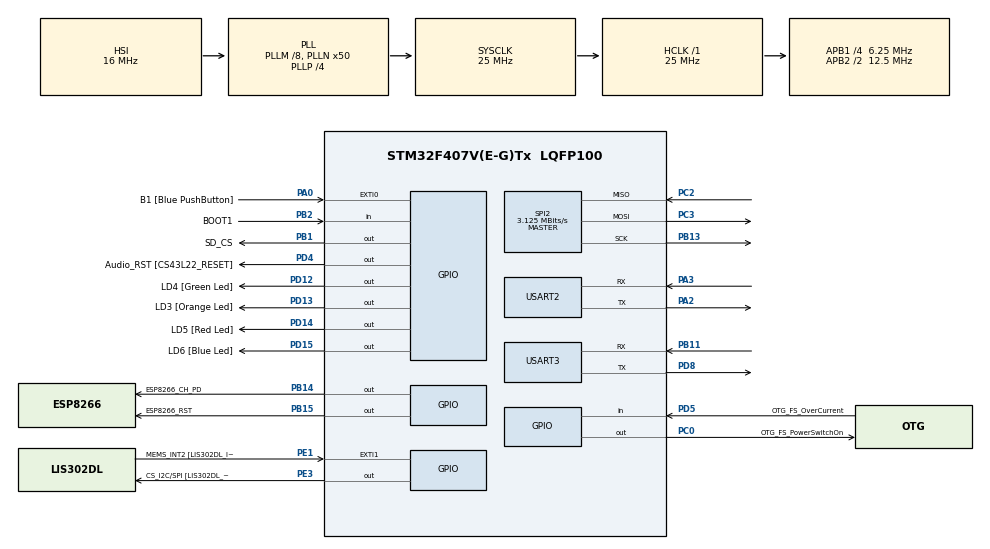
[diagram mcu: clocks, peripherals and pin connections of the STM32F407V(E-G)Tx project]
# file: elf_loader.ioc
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Dma.Request0=USART3_RX
Dma.USART3_RX.0.Direction=DMA_PERIPH_TO_MEMORY
Dma.USART3_RX.0.FIFOMode=DMA_FIFOMODE_ENABLE
Dma.USART3_RX.0.FIFOThreshold=DMA_FIFO_THRESHOLD_FULL
Dma.USART3_RX.0.Instance=DMA1_Stream1
Dma.USART3_RX.0.MemBurst=DMA_MBURST_SINGLE
Dma.USART3_RX.0.MemDataAlignment=DMA_MDATAALIGN_BYTE
Dma.USART3_RX.0.MemInc=DMA_MINC_ENABLE
Dma.USART3_RX.0.Mode=DMA_NORMAL
Dma.USART3_RX.0.PeriphBurst=DMA_PBURST_SINGLE
Dma.USART3_RX.0.PeriphDataAlignment=DMA_PDATAALIGN_BYTE
Dma.USART3_RX.0.PeriphInc=DMA_PINC_DISABLE
Dma.USART3_RX.0.Priority=DMA_PRIORITY_LOW
FREERTOS.Tasks01=defaultTask,24,128,StartDefaultTask,Default,NULL,Dynamic,NULL,NULL
Mcu.Family=STM32F4
Mcu.Name=STM32F407V(E-G)Tx
Mcu.Package=LQFP100
NVIC.DMA1_Stream1_IRQn=true\:5\:0\:false\:false\:true\:true\:false\:true\:true
NVIC.PriorityGroup=NVIC_PRIORITYGROUP_4
NVIC.TIM2_IRQn=true\:15\:0\:false\:false\:true\:false\:false\:true\:true
NVIC.TimeBase=TIM2_IRQn
NVIC.TimeBaseIP=TIM2
NVIC.USART3_IRQn=true\:5\:0\:false\:false\:true\:true\:true\:true\:true
PA0-WKUP.GPIO_Label=B1 [Blue PushButton]
PA0-WKUP.Signal=GPXTI0
PA10.GPIO_Label=OTG_FS_ID
PA10.GPIO_Mode=GPIO_MODE_AF_PP
PA10.GPIO_PuPd=GPIO_NOPULL
PA10.GPIO_Speed=GPIO_SPEED_FREQ_LOW
PA10.Signal=USB_OTG_FS_ID
PA11.GPIO_Label=OTG_FS_DM
PA11.GPIO_Mode=GPIO_MODE_AF_PP
PA11.GPIO_PuPd=GPIO_NOPULL
PA11.GPIO_Speed=GPIO_SPEED_FREQ_LOW
PA11.Signal=USB_OTG_FS_DM
PA12.GPIO_Label=OTG_FS_DP
PA12.GPIO_Mode=GPIO_MODE_AF_PP
PA12.GPIO_PuPd=GPIO_NOPULL
PA12.GPIO_Speed=GPIO_SPEED_FREQ_LOW
PA12.Signal=USB_OTG_FS_DP
PA13.GPIO_Label=SWDIO
PA13.Mode=Serial_Wire
PA13.Signal=SYS_JTMS-SWDIO
PA14.GPIO_Label=SWCLK
PA14.Mode=Serial_Wire
PA14.Signal=SYS_JTCK-SWCLK
PA2.Mode=Asynchronous
PA2.Signal=USART2_TX
PA3.Mode=Asynchronous
PA3.Signal=USART2_RX
PA4.GPIO_Label=I2S3_WS [CS43L22_LRCK]
PA4.GPIO_Mode=GPIO_MODE_AF_PP
PA4.GPIO_PuPd=GPIO_NOPULL
PA4.GPIO_Speed=GPIO_SPEED_FREQ_LOW
PA4.Signal=I2S3_WS
PA5.GPIO_Label=SPI1_SCK [LIS302DL_SCL/SPC]
PA5.GPIO_Mode=GPIO_MODE_AF_PP
PA5.GPIO_PuPd=GPIO_NOPULL
PA5.GPIO_Speed=GPIO_SPEED_FREQ_LOW
PA5.Signal=SPI1_SCK
PA6.GPIO_Label=SPI1_MISO [LIS302DL_SDO]
PA6.GPIO_Mode=GPIO_MODE_AF_PP
PA6.GPIO_PuPd=GPIO_NOPULL
PA6.GPIO_Speed=GPIO_SPEED_FREQ_LOW
PA6.Signal=SPI1_MISO
PA7.GPIO_Label=SPI1_MOSI [LIS302DL_SDA/SDI/SDO]
PA7.GPIO_Mode=GPIO_MODE_AF_PP
PA7.GPIO_PuPd=GPIO_NOPULL
PA7.GPIO_Speed=GPIO_SPEED_FREQ_LOW
PA7.Signal=SPI1_MOSI
PA9.GPIO_Label=VBUS_FS
PA9.GPIO_Mode=GPIO_MODE_INPUT
PA9.GPIO_PuPd=GPIO_NOPULL
PA9.Signal=USB_OTG_FS_VBUS
PB1.GPIO_Label=SD_CS
PB1.Signal=GPIO_Output
PB10.GPIO_Label=CLK_IN [MP45DT02_CLK]
PB10.GPIO_Mode=GPIO_MODE_AF_PP
PB10.GPIO_PuPd=GPIO_NOPULL
PB10.GPIO_Speed=GPIO_SPEED_FREQ_LOW
PB10.Signal=I2S2_CK
PB11.Mode=Asynchronous
PB11.Signal=USART3_RX
PB13.Mode=Full_Duplex_Master
PB13.Signal=SPI2_SCK
PB14.GPIO_Label=ESP8266_CH_PD
PB14.Signal=GPIO_Output
PB15.GPIO_Label=ESP8266_RST
PB15.Signal=GPIO_Output
PB2.GPIO_Label=BOOT1
PB2.GPIO_Mode=GPIO_MODE_INPUT
PB2.GPIO_PuPd=GPIO_NOPULL
PB2.Signal=GPIO_Input
PB3.GPIO_Label=SWO
PB3.Signal=SYS_JTDO-SWO
PB6.GPIO_Label=Audio_SCL [CS43L22_SCL]
PB6.GPIO_Mode=GPIO_MODE_AF_OD
PB6.GPIO_PuPd=GPIO_NOPULL
PB6.GPIO_Speed=GPIO_SPEED_FREQ_LOW
PB6.Signal=I2C1_SCL
PB9.GPIO_Label=Audio_SDA [CS43L22_SDA]
PB9.GPIO_Mode=GPIO_MODE_AF_OD
PB9.GPIO_PuPd=GPIO_NOPULL
PB9.GPIO_Speed=GPIO_SPEED_FREQ_LOW
PB9.Signal=I2C1_SDA
PC0.GPIO_Label=OTG_FS_PowerSwitchOn
PC0.GPIO_PuPd=GPIO_NOPULL
PC0.GPIO_Speed=GPIO_SPEED_FREQ_LOW
PC0.PinState=GPIO_PIN_SET
PC0.Signal=GPIO_Output
PC10.GPIO_Label=I2S3_SCK [CS43L22_SCLK]
PC10.GPIO_Mode=GPIO_MODE_AF_PP
PC10.GPIO_PuPd=GPIO_NOPULL
PC10.GPIO_Speed=GPIO_SPEED_FREQ_LOW
PC10.Signal=I2S3_CK
PC12.GPIO_Label=I2S3_SD [CS43L22_SDIN]
PC12.GPIO_Mode=GPIO_MODE_AF_PP
PC12.GPIO_PuPd=GPIO_NOPULL
PC12.GPIO_Speed=GPIO_SPEED_FREQ_LOW
PC12.Signal=I2S3_SD
PC14-OSC32_IN.GPIO_Label=PC14-OSC32_IN
PC14-OSC32_IN.Signal=RCC_OSC32_IN
PC15-OSC32_OUT.GPIO_Label=PC15-OSC32_OUT
PC15-OSC32_OUT.Signal=RCC_OSC32_OUT
PC2.Mode=Full_Duplex_Master
PC2.Signal=SPI2_MISO
PC3.Mode=Full_Duplex_Master
PC3.Signal=SPI2_MOSI
PC7.GPIO_Label=I2S3_MCK [CS43L22_MCLK]
PC7.GPIO_Mode=GPIO_MODE_AF_PP
PC7.GPIO_PuPd=GPIO_NOPULL
PC7.GPIO_Speed=GPIO_SPEED_FREQ_LOW
PC7.Signal=I2S3_MCK
PD12.GPIO_Label=LD4 [Green Led]
PD12.GPIO_PuPd=GPIO_NOPULL
PD12.GPIO_Speed=GPIO_SPEED_FREQ_LOW
PD12.Signal=GPIO_Output
PD13.GPIO_Label=LD3 [Orange Led]
PD13.GPIO_PuPd=GPIO_NOPULL
PD13.GPIO_Speed=GPIO_SPEED_FREQ_LOW
PD13.Signal=GPIO_Output
PD14.GPIO_Label=LD5 [Red Led]
PD14.GPIO_PuPd=GPIO_NOPULL
PD14.GPIO_Speed=GPIO_SPEED_FREQ_LOW
PD14.Signal=GPIO_Output
PD15.GPIO_Label=LD6 [Blue Led]
PD15.GPIO_PuPd=GPIO_NOPULL
PD15.GPIO_Speed=GPIO_SPEED_FREQ_LOW
PD15.Signal=GPIO_Output
PD4.GPIO_Label=Audio_RST [CS43L22_RESET]
PD4.GPIO_PuPd=GPIO_NOPULL
PD4.GPIO_Speed=GPIO_SPEED_FREQ_LOW
PD4.Signal=GPIO_Output
PD5.GPIO_Label=OTG_FS_OverCurrent
PD5.GPIO_Mode=GPIO_MODE_INPUT
PD5.GPIO_PuPd=GPIO_NOPULL
PD5.Signal=GPIO_Input
PD8.Mode=Asynchronous
PD8.Signal=USART3_TX
PE1.GPIO_Label=MEMS_INT2 [LIS302DL_INT2]
PE1.GPIO_ModeDefaultEXTI=GPIO_MODE_EVT_RISING
PE1.GPIO_PuPd=GPIO_NOPULL
PE1.Signal=GPXTI1
PE3.GPIO_Label=CS_I2C/SPI [LIS302DL_CS_I2C/SPI]
PE3.GPIO_PuPd=GPIO_NOPULL
PE3.GPIO_Speed=GPIO_SPEED_FREQ_LOW
PE3.Signal=GPIO_Output
PH0-OSC_IN.GPIO_Label=PH0-OSC_IN
PH0-OSC_IN.Signal=RCC_OSC_IN
PH1-OSC_OUT.GPIO_Label=PH1-OSC_OUT
PH1-OSC_OUT.Signal=RCC_OSC_OUT
ProjectManager.HeapSize=0x200
ProjectManager.StackSize=0x400
ProjectManager.TargetToolchain=Makefile
RCC.48MHZClocksFreq_Value=14285714.285714285
RCC.AHBFreq_Value=25000000
RCC.APB1CLKDivider=RCC_HCLK_DIV4
RCC.APB1Freq_Value=6250000
RCC.APB1TimFreq_Value=12500000
RCC.APB2CLKDivider=RCC_HCLK_DIV2
RCC.APB2Freq_Value=12500000
RCC.APB2TimFreq_Value=25000000
RCC.CortexFreq_Value=25000000
RCC.HCLKFreq_Value=25000000
RCC.HSE_VALUE=8000000
RCC.HSI_VALUE=16000000
RCC.LSE_VALUE=32768
RCC.PLLM=8
RCC.PLLN=50
RCC.PLLP=RCC_PLLP_DIV4
RCC.PLLQ=7
RCC.SYSCLKFreq_VALUE=25000000
RCC.SYSCLKSource=RCC_SYSCLKSOURCE_PLLCLK
RCC.VCOOutputFreq_Value=100000000
SPI2.CalculateBaudRate=3.125 MBits/s
SPI2.Direction=SPI_DIRECTION_2LINES
SPI2.Mode=SPI_MODE_MASTER
SPI2.VirtualType=VM_MASTER
USART2.VirtualMode=VM_ASYNC
USART3.VirtualMode=VM_ASYNC
VP_FATFS_VS_Generic.Mode=User_defined
VP_FREERTOS_VS_CMSIS_V2.Mode=CMSIS_V2
VP_SYS_VS_tim2.Mode=TIM2
board=STM32F407G-DISC1

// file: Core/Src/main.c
/* USER CODE BEGIN Header */
/**
 ******************************************************************************
 * @file           : main.c
 * @brief          : Main program body
 ******************************************************************************
 * @attention
 *
 * Copyright (c) 2026 STMicroelectronics.
 * All rights reserved.
 *
 * This software is licensed under terms that can be found in the LICENSE file
 * in the root directory of this software component.
 * If no LICENSE file comes with this software, it is provided AS-IS.
 *
 ******************************************************************************
 */
/* USER CODE END Header */
#include "main.h"
#include "cmsis_os.h"
#include "fatfs.h"

/* USER CODE BEGIN Includes */
#include "FreeRTOS.h"
#include "kernel_api.h"
#include "shell.h"
#include "task.h"
/* USER CODE END Includes */

SPI_HandleTypeDef hspi2;

UART_HandleTypeDef huart2;
UART_HandleTypeDef huart3;
DMA_HandleTypeDef hdma_usart3_rx;

/* Definitions for defaultTask */
osThreadId_t defaultTaskHandle;
const osThreadAttr_t defaultTask_attributes = {
    .name = "defaultTask",
    .stack_size = 128 * 4,
    .priority = (osPriority_t) osPriorityNormal,
};

void SystemClock_Config(void);
static void MX_GPIO_Init(void);
static void MX_DMA_Init(void);
static void MX_USART2_UART_Init(void);
static void MX_SPI2_Init(void);
static void MX_USART3_UART_Init(void);
void StartDefaultTask(void *argument);

int main(void)
{

    /* MCU
     * Configuration--------------------------------------------------------*/

    /* Reset of all peripherals, Initializes the Flash interface and the
     * Systick. */
    HAL_Init();

    /* Configure the system clock */
    SystemClock_Config();

    /* Initialize all configured peripherals */
    MX_GPIO_Init();
    MX_DMA_Init();
    MX_USART2_UART_Init();
    MX_SPI2_Init();
    MX_FATFS_Init();
    MX_USART3_UART_Init();
    /* USER CODE BEGIN 2 */
    /* ESP8266 Init BEGIN */
    // 1. Ensure power enable first
    HAL_GPIO_WritePin(ESP8266_CH_PD_GPIO_Port, ESP8266_CH_PD_Pin, GPIO_PIN_SET);
    HAL_Delay(500);  // Give power time to stabilize

    // 2. Perform hardware reset
    HAL_GPIO_WritePin(ESP8266_RST_GPIO_Port, ESP8266_RST_Pin, GPIO_PIN_RESET);
    HAL_Delay(100);
    HAL_GPIO_WritePin(ESP8266_RST_GPIO_Port, ESP8266_RST_Pin, GPIO_PIN_SET);

    // 3. Wait for ESP to complete boot messages (typically takes 2-3 seconds)
    HAL_Delay(3000);
    /* ESP8266 Init END */
    /* USER CODE END 2 */

    /* Init scheduler */
    osKernelInitialize();

    /* Create the thread(s) */
    /* creation of defaultTask */
    defaultTaskHandle =
        osThreadNew(StartDefaultTask, NULL, &defaultTask_attributes);

    /* USER CODE BEGIN RTOS_THREADS */
    if (kernel_init() != 0 ||
        xTaskCreate(shell_task, "shell", 1024, NULL, 2, NULL) != pdPASS)
        Error_Handler();
    /* USER CODE END RTOS_THREADS */

    /* Start scheduler */
    osKernelStart();

    /* We should never get here as control is now taken by the scheduler */

    /* Infinite loop */
    while (1) {

    }
}

void SystemClock_Config(void)
{
    RCC_OscInitTypeDef RCC_OscInitStruct = {0};
    RCC_ClkInitTypeDef RCC_ClkInitStruct = {0};

    /** Configure the main internal regulator output voltage
     */
    __HAL_RCC_PWR_CLK_ENABLE();
    __HAL_PWR_VOLTAGESCALING_CONFIG(PWR_REGULATOR_VOLTAGE_SCALE1);

    /** Initializes the RCC Oscillators according to the specified parameters
     * in the RCC_OscInitTypeDef structure.
     */
    RCC_OscInitStruct.OscillatorType = RCC_OSCILLATORTYPE_HSI;
    RCC_OscInitStruct.HSIState = RCC_HSI_ON;
    RCC_OscInitStruct.HSICalibrationValue = RCC_HSICALIBRATION_DEFAULT;
    RCC_OscInitStruct.PLL.PLLState = RCC_PLL_ON;
    RCC_OscInitStruct.PLL.PLLSource = RCC_PLLSOURCE_HSI;
    RCC_OscInitStruct.PLL.PLLM = 8;
    RCC_OscInitStruct.PLL.PLLN = 50;
    RCC_OscInitStruct.PLL.PLLP = RCC_PLLP_DIV4;
    RCC_OscInitStruct.PLL.PLLQ = 7;
    if (HAL_RCC_OscConfig(&RCC_OscInitStruct) != HAL_OK) {
        Error_Handler();
    }

    /** Initializes the CPU, AHB and APB buses clocks
     */
    RCC_ClkInitStruct.ClockType = RCC_CLOCKTYPE_HCLK | RCC_CLOCKTYPE_SYSCLK |
                                  RCC_CLOCKTYPE_PCLK1 | RCC_CLOCKTYPE_PCLK2;
    RCC_ClkInitStruct.SYSCLKSource = RCC_SYSCLKSOURCE_PLLCLK;
    RCC_ClkInitStruct.AHBCLKDivider = RCC_SYSCLK_DIV1;
    RCC_ClkInitStruct.APB1CLKDivider = RCC_HCLK_DIV4;
    RCC_ClkInitStruct.APB2CLKDivider = RCC_HCLK_DIV2;

    if (HAL_RCC_ClockConfig(&RCC_ClkInitStruct, FLASH_LATENCY_0) != HAL_OK) {
        Error_Handler();
    }
}

static void MX_SPI2_Init(void)
{

    /* SPI2 parameter configuration*/
    hspi2.Instance = SPI2;
    hspi2.Init.Mode = SPI_MODE_MASTER;
    hspi2.Init.Direction = SPI_DIRECTION_2LINES;
    hspi2.Init.DataSize = SPI_DATASIZE_8BIT;
    hspi2.Init.CLKPolarity = SPI_POLARITY_LOW;
    hspi2.Init.CLKPhase = SPI_PHASE_1EDGE;
    hspi2.Init.NSS = SPI_NSS_SOFT;
    hspi2.Init.BaudRatePrescaler = SPI_BAUDRATEPRESCALER_2;
    hspi2.Init.FirstBit = SPI_FIRSTBIT_MSB;
    hspi2.Init.TIMode = SPI_TIMODE_DISABLE;
    hspi2.Init.CRCCalculation = SPI_CRCCALCULATION_DISABLE;
    hspi2.Init.CRCPolynomial = 10;
    if (HAL_SPI_Init(&hspi2) != HAL_OK) {
        Error_Handler();
    }
}

static void MX_USART2_UART_Init(void)
{

    huart2.Instance = USART2;
    huart2.Init.BaudRate = 115200;
    huart2.Init.WordLength = UART_WORDLENGTH_8B;
    huart2.Init.StopBits = UART_STOPBITS_1;
    huart2.Init.Parity = UART_PARITY_NONE;
    huart2.Init.Mode = UART_MODE_TX_RX;
    huart2.Init.HwFlowCtl = UART_HWCONTROL_NONE;
    huart2.Init.OverSampling = UART_OVERSAMPLING_16;
    if (HAL_UART_Init(&huart2) != HAL_OK) {
        Error_Handler();
    }
}

static void MX_USART3_UART_Init(void)
{

    huart3.Instance = USART3;
    huart3.Init.BaudRate = 115200;
    huart3.Init.WordLength = UART_WORDLENGTH_8B;
    huart3.Init.StopBits = UART_STOPBITS_1;
    huart3.Init.Parity = UART_PARITY_NONE;
    huart3.Init.Mode = UART_MODE_TX_RX;
    huart3.Init.HwFlowCtl = UART_HWCONTROL_NONE;
    huart3.Init.OverSampling = UART_OVERSAMPLING_16;
    if (HAL_UART_Init(&huart3) != HAL_OK) {
        Error_Handler();
    }
}

static void MX_DMA_Init(void)
{
    /* DMA controller clock enable */
    __HAL_RCC_DMA1_CLK_ENABLE();

    /* DMA interrupt init */
    /* DMA1_Stream1_IRQn interrupt configuration */
    HAL_NVIC_SetPriority(DMA1_Stream1_IRQn, 5, 0);
    HAL_NVIC_EnableIRQ(DMA1_Stream1_IRQn);
}

static void MX_GPIO_Init(void)
{
    GPIO_InitTypeDef GPIO_InitStruct = {0};

    /* GPIO Ports Clock Enable */
    __HAL_RCC_GPIOE_CLK_ENABLE();
    __HAL_RCC_GPIOC_CLK_ENABLE();
    __HAL_RCC_GPIOH_CLK_ENABLE();
    __HAL_RCC_GPIOA_CLK_ENABLE();
    __HAL_RCC_GPIOB_CLK_ENABLE();
    __HAL_RCC_GPIOD_CLK_ENABLE();

    /*Configure GPIO pin Output Level */
    HAL_GPIO_WritePin(CS_I2C_SPI_GPIO_Port, CS_I2C_SPI_Pin, GPIO_PIN_RESET);

    /*Configure GPIO pin Output Level */
    HAL_GPIO_WritePin(OTG_FS_PowerSwitchOn_GPIO_Port, OTG_FS_PowerSwitchOn_Pin,
                      GPIO_PIN_SET);

    /*Configure GPIO pin Output Level */
    HAL_GPIO_WritePin(GPIOB, SD_CS_Pin | ESP8266_CH_PD_Pin | ESP8266_RST_Pin,
                      GPIO_PIN_RESET);

    /*Configure GPIO pin Output Level */
    HAL_GPIO_WritePin(GPIOD,
                      LD4_Pin | LD3_Pin | LD5_Pin | LD6_Pin | Audio_RST_Pin,
                      GPIO_PIN_RESET);

    /*Configure GPIO pin : CS_I2C_SPI_Pin */
    GPIO_InitStruct.Pin = CS_I2C_SPI_Pin;
    GPIO_InitStruct.Mode = GPIO_MODE_OUTPUT_PP;
    GPIO_InitStruct.Pull = GPIO_NOPULL;
    GPIO_InitStruct.Speed = GPIO_SPEED_FREQ_LOW;
    HAL_GPIO_Init(CS_I2C_SPI_GPIO_Port, &GPIO_InitStruct);

    /*Configure GPIO pin : OTG_FS_PowerSwitchOn_Pin */
    GPIO_InitStruct.Pin = OTG_FS_PowerSwitchOn_Pin;
    GPIO_InitStruct.Mode = GPIO_MODE_OUTPUT_PP;
    GPIO_InitStruct.Pull = GPIO_NOPULL;
    GPIO_InitStruct.Speed = GPIO_SPEED_FREQ_LOW;
    HAL_GPIO_Init(OTG_FS_PowerSwitchOn_GPIO_Port, &GPIO_InitStruct);

    /*Configure GPIO pin : B1_Pin */
    GPIO_InitStruct.Pin = B1_Pin;
    GPIO_InitStruct.Mode = GPIO_MODE_IT_RISING;
    GPIO_InitStruct.Pull = GPIO_NOPULL;
    HAL_GPIO_Init(B1_GPIO_Port, &GPIO_InitStruct);

    /*Configure GPIO pin : I2S3_WS_Pin */
    GPIO_InitStruct.Pin = I2S3_WS_Pin;
    GPIO_InitStruct.Mode = GPIO_MODE_AF_PP;
    GPIO_InitStruct.Pull = GPIO_NOPULL;
    GPIO_InitStruct.Speed = GPIO_SPEED_FREQ_LOW;
    GPIO_InitStruct.Alternate = GPIO_AF6_SPI3;
    HAL_GPIO_Init(I2S3_WS_GPIO_Port, &GPIO_InitStruct);

    /*Configure GPIO pins : SPI1_SCK_Pin SPI1_MISO_Pin SPI1_MOSI_Pin */
    GPIO_InitStruct.Pin = SPI1_SCK_Pin | SPI1_MISO_Pin | SPI1_MOSI_Pin;
    GPIO_InitStruct.Mode = GPIO_MODE_AF_PP;
    GPIO_InitStruct.Pull = GPIO_NOPULL;
    GPIO_InitStruct.Speed = GPIO_SPEED_FREQ_LOW;
    GPIO_InitStruct.Alternate = GPIO_AF5_SPI1;
    HAL_GPIO_Init(GPIOA, &GPIO_InitStruct);

    /*Configure GPIO pins : SD_CS_Pin ESP8266_CH_PD_Pin ESP8266_RST_Pin */
    GPIO_InitStruct.Pin = SD_CS_Pin | ESP8266_CH_PD_Pin | ESP8266_RST_Pin;
    GPIO_InitStruct.Mode = GPIO_MODE_OUTPUT_PP;
    GPIO_InitStruct.Pull = GPIO_NOPULL;
    GPIO_InitStruct.Speed = GPIO_SPEED_FREQ_LOW;
    HAL_GPIO_Init(GPIOB, &GPIO_InitStruct);

    /*Configure GPIO pin : BOOT1_Pin */
    GPIO_InitStruct.Pin = BOOT1_Pin;
    GPIO_InitStruct.Mode = GPIO_MODE_INPUT;
    GPIO_InitStruct.Pull = GPIO_NOPULL;
    HAL_GPIO_Init(BOOT1_GPIO_Port, &GPIO_InitStruct);

    /*Configure GPIO pin : CLK_IN_Pin */
    GPIO_InitStruct.Pin = CLK_IN_Pin;
    GPIO_InitStruct.Mode = GPIO_MODE_AF_PP;
    GPIO_InitStruct.Pull = GPIO_NOPULL;
    GPIO_InitStruct.Speed = GPIO_SPEED_FREQ_LOW;
    GPIO_InitStruct.Alternate = GPIO_AF5_SPI2;
    HAL_GPIO_Init(CLK_IN_GPIO_Port, &GPIO_InitStruct);

    /*Configure GPIO pins : LD4_Pin LD3_Pin LD5_Pin LD6_Pin
                             Audio_RST_Pin */
    GPIO_InitStruct.Pin = LD4_Pin | LD3_Pin | LD5_Pin | LD6_Pin | Audio_RST_Pin;
    GPIO_InitStruct.Mode = GPIO_MODE_OUTPUT_PP;
    GPIO_InitStruct.Pull = GPIO_NOPULL;
    GPIO_InitStruct.Speed = GPIO_SPEED_FREQ_LOW;
    HAL_GPIO_Init(GPIOD, &GPIO_InitStruct);

    /*Configure GPIO pins : I2S3_MCK_Pin I2S3_SCK_Pin I2S3_SD_Pin */
    GPIO_InitStruct.Pin = I2S3_MCK_Pin | I2S3_SCK_Pin | I2S3_SD_Pin;
    GPIO_InitStruct.Mode = GPIO_MODE_AF_PP;
    GPIO_InitStruct.Pull = GPIO_NOPULL;
    GPIO_InitStruct.Speed = GPIO_SPEED_FREQ_LOW;
    GPIO_InitStruct.Alternate = GPIO_AF6_SPI3;
    HAL_GPIO_Init(GPIOC, &GPIO_InitStruct);

    /*Configure GPIO pin : VBUS_FS_Pin */
    GPIO_InitStruct.Pin = VBUS_FS_Pin;
    GPIO_InitStruct.Mode = GPIO_MODE_INPUT;
    GPIO_InitStruct.Pull = GPIO_NOPULL;
    HAL_GPIO_Init(VBUS_FS_GPIO_Port, &GPIO_InitStruct);

    /*Configure GPIO pins : OTG_FS_ID_Pin OTG_FS_DM_Pin OTG_FS_DP_Pin */
    GPIO_InitStruct.Pin = OTG_FS_ID_Pin | OTG_FS_DM_Pin | OTG_FS_DP_Pin;
    GPIO_InitStruct.Mode = GPIO_MODE_AF_PP;
    GPIO_InitStruct.Pull = GPIO_NOPULL;
    GPIO_InitStruct.Speed = GPIO_SPEED_FREQ_LOW;
    GPIO_InitStruct.Alternate = GPIO_AF10_OTG_FS;
    HAL_GPIO_Init(GPIOA, &GPIO_InitStruct);

    /*Configure GPIO pin : OTG_FS_OverCurrent_Pin */
    GPIO_InitStruct.Pin = OTG_FS_OverCurrent_Pin;
    GPIO_InitStruct.Mode = GPIO_MODE_INPUT;
    GPIO_InitStruct.Pull = GPIO_NOPULL;
    HAL_GPIO_Init(OTG_FS_OverCurrent_GPIO_Port, &GPIO_InitStruct);

    /*Configure GPIO pins : Audio_SCL_Pin Audio_SDA_Pin */
    GPIO_InitStruct.Pin = Audio_SCL_Pin | Audio_SDA_Pin;
    GPIO_InitStruct.Mode = GPIO_MODE_AF_OD;
    GPIO_InitStruct.Pull = GPIO_NOPULL;
    GPIO_InitStruct.Speed = GPIO_SPEED_FREQ_LOW;
    GPIO_InitStruct.Alternate = GPIO_AF4_I2C1;
    HAL_GPIO_Init(GPIOB, &GPIO_InitStruct);

    /*Configure GPIO pin : MEMS_INT2_Pin */
    GPIO_InitStruct.Pin = MEMS_INT2_Pin;
    GPIO_InitStruct.Mode = GPIO_MODE_EVT_RISING;
    GPIO_InitStruct.Pull = GPIO_NOPULL;
    HAL_GPIO_Init(MEMS_INT2_GPIO_Port, &GPIO_InitStruct);

}

void StartDefaultTask(void *argument)
{
    /* USER CODE BEGIN 5 */
    vTaskDelete(NULL);
    /* USER CODE END 5 */
}

void HAL_TIM_PeriodElapsedCallback(TIM_HandleTypeDef *htim)
{
    if (htim->Instance == TIM2) {
        HAL_IncTick();
    }
}

void Error_Handler(void)
{
    /* USER CODE BEGIN Error_Handler_Debug */
    /* Blink the red LED so a boot failure is visible on the board.
     * Interrupts are off, so busy-wait instead of HAL_Delay(). */
    __disable_irq();
    while (1) {
        HAL_GPIO_TogglePin(LD5_GPIO_Port, LD5_Pin);
        for (volatile uint32_t i = 0; i < 500000; i++) {
        }
    }
    /* USER CODE END Error_Handler_Debug */
}
#ifdef USE_FULL_ASSERT
/**
 * @brief  Reports the name of the source file and the source line number
 *         where the assert_param error has occurred.
 * @param  file: pointer to the source file name
 * @param  line: assert_param error line source number
 * @retval None
 */
void assert_failed(uint8_t *file, uint32_t line)
{
    /* USER CODE BEGIN 6 */
    /* User can add his own implementation to report the file name and line
       number, ex: printf("Wrong parameters value: file %s on line %d\r\n",
       file, line) */
    /* USER CODE END 6 */
}
#endif /* USE_FULL_ASSERT */
